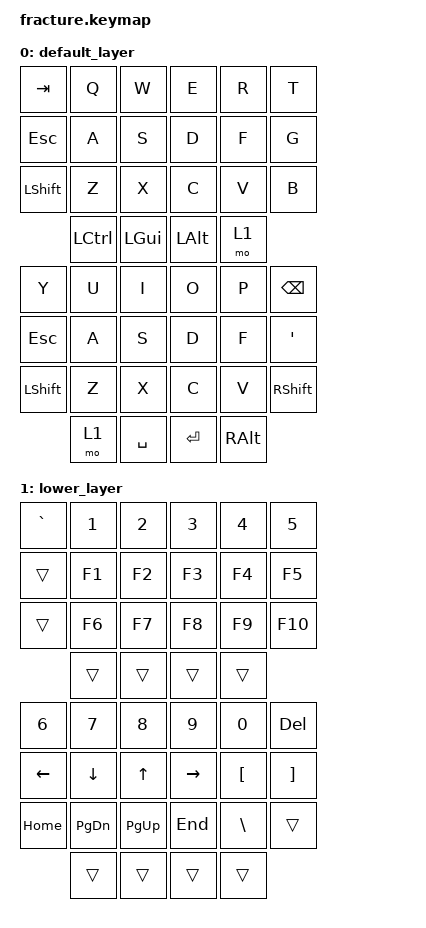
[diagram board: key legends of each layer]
#include <behaviors.dtsi>
#include <dt-bindings/zmk/keys.h>
#include <dt-bindings/zmk/bt.h>
#include <dt-bindings/zmk/outputs.h>

/ {
    keymap {
        compatible = "zmk,keymap";

        default_layer {
            bindings = <
            &kp TAB &kp Q &kp W &kp E &kp R &kp T
            &kp ESC &kp A &kp S &kp D &kp F &kp G
            &kp LSHFT &kp Z &kp X &kp C &kp V &kp B
            &kp LCTRL &kp LGUI &kp LALT &mo 1

            &kp Y &kp U &kp I &kp O &kp P &kp BSPC
            &kp ESC &kp A &kp S &kp D &kp F &kp QUOT
            &kp LSHFT &kp Z &kp X &kp C &kp V &kp RSHFT
            &mo 1 &kp SPACE &kp ENTER &kp RALT
            >;
        };

        lower_layer {
            bindings = <
            &kp GRAVE &kp N1 &kp N2 &kp N3 &kp N4 &kp N5
            &trans &kp F1 &kp F2 &kp F3 &kp F4 &kp F5
            &trans &kp F6 &kp F7 &kp F8 &kp F9 &kp F10
            &trans &trans &trans &trans

            &kp N6 &kp N7 &kp N8 &kp N9 &kp N0 &kp DEL
            &kp LEFT &kp DOWN &kp UP &kp RIGHT &kp LBKT &kp RBKT
            &kp HOME &kp PG_DN &kp PG_UP &kp END &kp BSLH &trans
            &trans &trans &trans &trans
            >;
        };
    };

    behaviors {
        encoder_cw: encoder_clockwise {
            compatible = "zmk,behavior-key-press";
            label = "ENCODER_CW";
            #binding-cells = <0>;
            bindings = <&kp K_VOL_UP>;
        };

        encoder_ccw: encoder_counterclockwise {
            compatible = "zmk,behavior-key-press";
            label = "ENCODER_CCW";
            #binding-cells = <0>;
            bindings = <&kp K_VOL_DN>;
        };

        encoder2_cw: encoder2_clockwise {
            compatible = "zmk,behavior-key-press";
            label = "ENCODER2_CW";
            #binding-cells = <0>;
            bindings = <&kp PG_DN>;
        };

        encoder2_ccw: encoder2_counterclockwise {
            compatible = "zmk,behavior-key-press";
            label = "ENCODER2_CCW";
            #binding-cells = <0>;
            bindings = <&kp PG_UP>;
        };
    };
};

&kscan0 {
    diode-direction = "col2row";

    col-gpios = <
        &xiao_d 0 GPIO_ACTIVE_HIGH
        &xiao_d 1 GPIO_ACTIVE_HIGH
        &xiao_d 2 GPIO_ACTIVE_HIGH
        &xiao_d 3 GPIO_ACTIVE_HIGH
        &xiao_d 4 GPIO_ACTIVE_HIGH
        &xiao_d 5 GPIO_ACTIVE_HIGH
    >;

    row-gpios = <
        &xiao_d 6 GPIO_ACTIVE_HIGH
        &xiao_d 7 GPIO_ACTIVE_HIGH
        &xiao_d 8 GPIO_ACTIVE_HIGH
        &xiao_d 9 GPIO_ACTIVE_HIGH
    >;
};

&encoder_left {
    compatible = "alps,ec11";
    a-gpios = <&xiao_nrf52840 9 GPIO_ACTIVE_LOW>;
    b-gpios = <&xiao_d 10 GPIO_ACTIVE_LOW>;
    steps = <24>;
    bindings = <&encoder_ccw &encoder_cw>;
};

&encoder_right {
    compatible = "alps,ec11";
    a-gpios = <&xiao_d 9 GPIO_ACTIVE_LOW>;
    b-gpios = <&xiao_d 10 GPIO_ACTIVE_LOW>;
    steps = <24>;
    bindings = <&encoder2_ccw &encoder2_cw>;
};

&split {
    status = "okay";
};

/ {
    chosen {
        zmk,kscan = &kscan0;
    };
};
